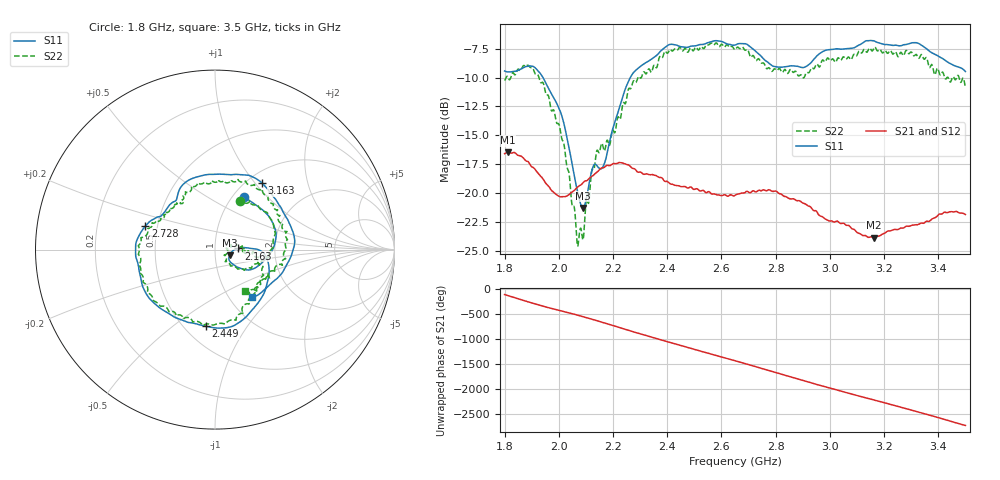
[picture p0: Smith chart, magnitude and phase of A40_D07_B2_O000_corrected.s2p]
! Created with skrf 1.9.0 (http://scikit-rf.org).
# Hz S RI R 50.0
!freq ReS11 ImS11 ReS21 ImS21 ReS12 ImS12 ReS22 ImS22
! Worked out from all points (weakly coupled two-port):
!   1601 points, 1.8 GHz to 3.5 GHz, reference 50 ohm
!   highest |S21| = -16.46 dB at 1.812 GHz (marker M1); lowest = -23.8 dB at 3.162 GHz (marker M2)
!   lowest |S11| = -21.3 dB at 2.09 GHz (marker M3), VSWR 1.19, Z = 58.7 - j3.65 ohm
!   |S11| at or under -10 dB: 1.942 GHz to 2.264 GHz (322.2 MHz wide, 15.3 % of centre)
!   |S22| runs from -24.6 to -7.0 dB; largest |S21 - S12| = 0.0028
!   S11 on the Smith chart (normalised r, x): 1.8 GHz: 1.13, +0.75; 2.163 GHz: 1.30, +0.02; 2.449 GHz: 0.64, -0.67; 2.728 GHz: 0.43, +0.14; 3.163 GHz: 1.16, +1.09; 3.5 GHz: 1.27, -0.76
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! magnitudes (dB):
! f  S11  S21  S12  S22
! 1.8 GHz  -9.4  -16.6  -16.6  -10.3
! 1.812 GHz  -9.5  -16.5  -16.5  -9.9
! 1.885 GHz  -9.0  -17.2  -17.3  -8.9
! 1.942 GHz  -10.0  -18.8  -18.8  -10.5
! 2.011 GHz  -13.3  -20.3  -20.3  -15.3
! 2.067 GHz  -19.6  -19.5  -19.5  -24.2
! 2.084 GHz  -21.1  -19.2  -19.2  -23.3
! 2.09 GHz  -21.3  -19.1  -19.1  -23.9
! 2.128 GHz  -17.6  -18.4  -18.4  -18.0
! 2.163 GHz  -17.7  -17.8  -17.7  -16.0
! 2.26 GHz  -10.2  -17.6  -17.6  -10.9
! 2.367 GHz  -7.9  -18.6  -18.5  -8.6
! 2.449 GHz  -7.3  -19.4  -19.4  -7.4
! 2.65 GHz  -7.2  -20.2  -20.2  -7.6
! 2.728 GHz  -7.8  -19.9  -19.9  -8.5
! 2.8 GHz  -9.1  -19.8  -19.8  -9.3
! 2.934 GHz  -8.6  -21.3  -21.3  -9.2
! 3.162 GHz  -6.8  -23.8  -23.8  -7.5
! 3.163 GHz  -6.8  -23.8  -23.8  -7.4
! 3.217 GHz  -7.2  -23.2  -23.2  -7.8
! 3.324 GHz  -7.0  -22.7  -22.7  -8.2
! 3.5 GHz  -9.5  -21.8  -21.8  -10.9
